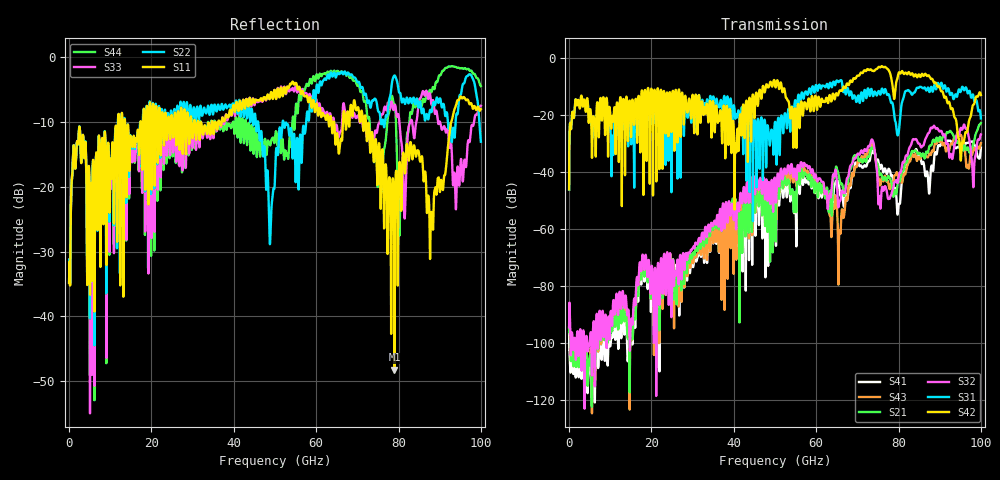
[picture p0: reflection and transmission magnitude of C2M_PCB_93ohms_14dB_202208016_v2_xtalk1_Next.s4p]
! Info: Touchstone file created by Circ.  Input file=Intel_C2M_200G_3p5in_202208016_staggered.circ
# Hz S RI R 50
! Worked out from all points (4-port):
!   10000 points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, 10 MHz to 100 GHz, reference 50 ohm
!   strongest paths, dB at 10 MHz, 25.01 GHz, 50.01 GHz, 75.01 GHz, 100 GHz:
!     S42: -46.1, -14.9, -9.1, -3.3, -12.9
!     S31: -46.2, -18.2, -22.4, -11.9, -21.2
!     S32: -94.5, -80.1, -42.6, -47.7, -26.8
!     S21: -94.7, -74.1, -47.4, -37.8, -22.8
!     S43: -94.5, -78.8, -44.0, -41.7, -29.8
!     S41: -96.4, -73.1, -48.9, -35.7, -31.5
!   lowest |S11| = -48.2 dB at 79 GHz (marker M1), VSWR 1.01, Z = 49.7 - j0.218 ohm
!   |S11| at or under -10 dB: start of sweep to 11.91 GHz; 13.6 GHz to 17.36 GHz (3.756 GHz wide, 24.3 % of centre); 72.07 GHz to 92.83 GHz (20.76 GHz wide, 25.2 % of centre)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
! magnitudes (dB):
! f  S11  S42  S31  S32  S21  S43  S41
! 10 MHz  -34.8  -46.1  -46.2  -94.5  -94.7  -94.5  -96.4
! 3.27 GHz  -12.3  -16.6  -15.6  -99.0  -105.0  -103.5  -108.8
! 54.08 GHz  -4.0  -17.1  -17.0  -37.6  -46.2  -39.0  -47.3
! 65.64 GHz  -14.4  -11.5  -8.1  -50.4  -42.5  -60.8  -45.9
! 73.23 GHz  -14.1  -3.9  -11.3  -29.7  -32.3  -31.6  -34.0
! 79 GHz  -48.2  -14.1  -20.7  -43.5  -46.6  -41.2  -46.0
! 100 GHz  -8.0  -12.9  -21.2  -26.8  -22.8  -29.8  -31.5
